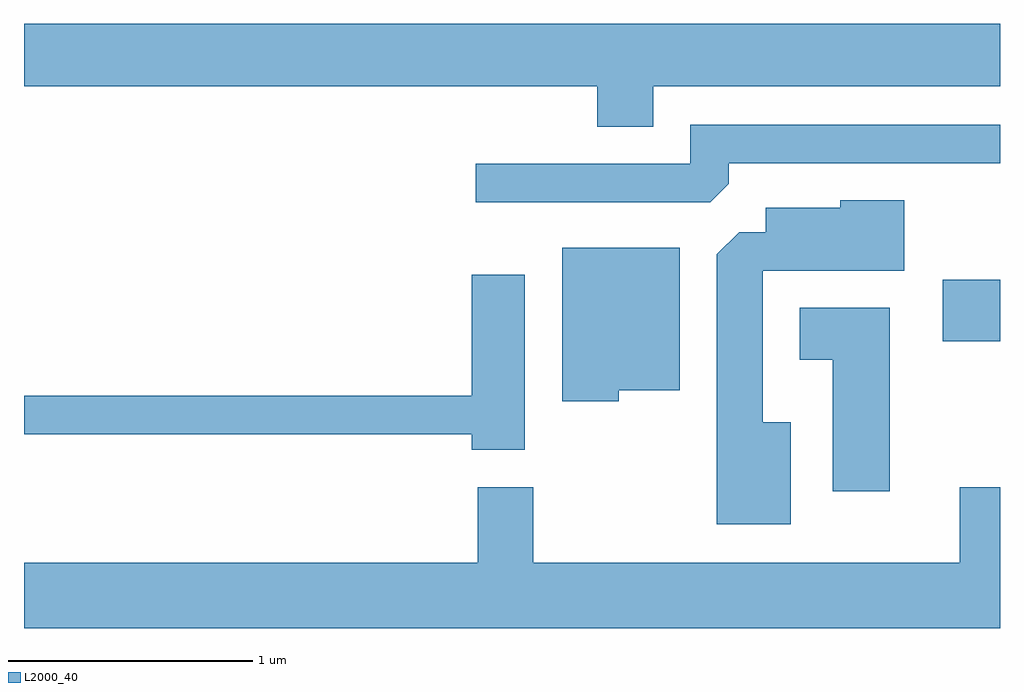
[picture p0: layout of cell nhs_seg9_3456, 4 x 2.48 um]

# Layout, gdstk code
import gdstk
lib = gdstk.Library(unit=1e-6, precision=1e-09)
def R(c, l, rs):  # rectangles x0, y0, x1, y1
    for r in rs: c.add(gdstk.rectangle(r[:2], r[2:], *l))
def P(c, l, *ps):  # polygons
    for p in ps: c.add(gdstk.Polygon(p, *l))
L2000_40 = (2000, 40)

nhs_seg9_3456 = lib.new_cell('nhs_seg9_3456')
R(nhs_seg9_3456, L2000_40, [(289.376,2075.131,289.611,2075.384)])
P(nhs_seg9_3456, L2000_40, [(288.189,2076.176),(289.611,2076.176),(289.611,2076.432),(285.611,2076.432),(285.611,2076.176),(287.961,2076.176),(287.961,2076.011),(288.189,2076.011)],
  [(288.499,2075.777),(288.499,2075.861),(289.611,2075.861),(289.611,2076.019),(288.341,2076.019),(288.341,2075.859),(287.463,2075.859),(287.463,2075.701),(288.424,2075.701)],
  [(288.754,2074.799),(288.639,2074.799),(288.639,2075.421),(289.219,2075.421),(289.219,2075.709),(288.956,2075.709),(288.956,2075.679),(288.651,2075.679),(288.651,2075.579),(288.542,2075.579),(288.451,2075.489),(288.451,2074.381),(288.754,2074.381)],
  [(288.049,2074.931),(288.299,2074.931),(288.299,2075.514),(287.816,2075.514),(287.816,2074.886),(288.049,2074.886)],
  [(287.664,2075.404),(287.446,2075.404),(287.446,2074.909),(285.611,2074.909),(285.611,2074.751),(287.446,2074.751),(287.446,2074.686),(287.664,2074.686)],
  [(289.159,2075.269),(288.791,2075.269),(288.791,2075.056),(288.926,2075.056),(288.926,2074.516),(289.159,2074.516)],
  [(289.611,2074.534),(289.446,2074.534),(289.446,2074.224),(287.699,2074.224),(287.699,2074.534),(287.471,2074.534),(287.471,2074.224),(285.611,2074.224),(285.611,2073.956),(289.611,2073.956)])

lib.write_gds('nhs_seg9_3456.gds')
